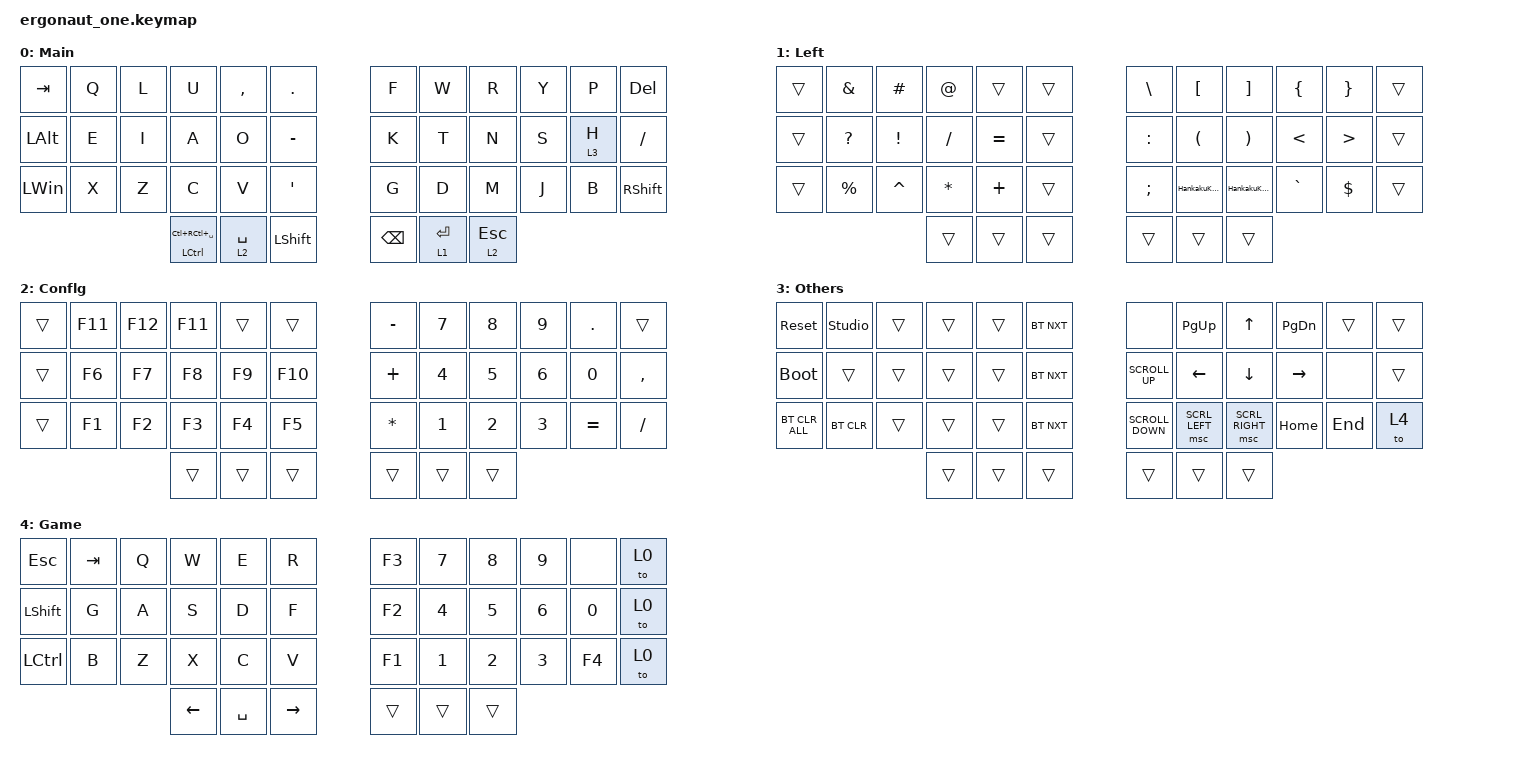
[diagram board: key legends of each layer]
#include <behaviors.dtsi>
#include <dt-bindings/zmk/bt.h>
#include <dt-bindings/zmk/keys.h>
#include <dt-bindings/zmk/pointing.h>

#define DEF 0
#define LWR 1
#define RSE 2
#define ADJ 3

&lt { quick-tap-ms = <200>; };

&mt { quick-tap-ms = <200>; };

/ {
    conditional_layers {
        compatible = "zmk,conditional-layers";

        tri-layer {
            if-layers = <4 4>;
            then-layer = <4>;
        };
    };

    combos { compatible = "zmk,combos"; };

    macros {
        HankakuKakkoHidiri: HankakuKakko {
            compatible = "zmk,behavior-macro";
            #binding-cells = <0>;
            bindings = <&kp LC(SPACE) &kp LEFT_PARENTHESIS &kp LC(SPACE)>;
            label = "HANKAKUKAKKO";
        };

        HankakuKakkoMigi: HankakuKakkoHidiari {
            compatible = "zmk,behavior-macro";
            #binding-cells = <0>;
            bindings = <&kp LC(SPACE) &kp RIGHT_PARENTHESIS &kp LC(SPACE)>;
            label = "HANKAKUKAKKOHIDIARI";
        };

        f13lay6: f13lay6 {
            compatible = "zmk,behavior-macro";
            #binding-cells = <0>;
            bindings = <&mo 0 &kp F13>;
            label = "F13LAY6";
        };
    };

    behaviors {
        ef13laym: ef13laym {
            compatible = "zmk,behavior-hold-tap";
            label = "EF13LAYM";
            bindings = <&f13lay6>, <&kp>;

            #binding-cells = <2>;
            tapping-term-ms = <150>;
        };
    };

    keymap {
        compatible = "zmk,keymap";

        Main {
            display-name = "Main";
            bindings = <
&kp TAB       &kp Q  &kp L  &kp U                    &kp COMMA    &kp PERIOD      &kp F          &kp W        &kp R         &kp Y  &kp P    &kp DEL
&kp LEFT_ALT  &kp E  &kp I  &kp A                    &kp O        &kp MINUS       &kp K          &kp T        &kp N         &kp S  &lt 3 H  &kp SLASH
&kp LEFT_WIN  &kp X  &kp Z  &kp C                    &kp V        &kp SQT         &kp G          &kp D        &kp M         &kp J  &kp B    &kp RIGHT_SHIFT
                            &mt LCTRL LC(RC(SPACE))  &lt 2 SPACE  &kp LEFT_SHIFT  &kp BACKSPACE  &lt 1 ENTER  &lt 2 ESCAPE
            >;
        };

        symbol {
            display-name = "Left";
            bindings = <
&trans  &kp AMPERSAND  &kp HASH         &kp AT_SIGN   &trans     &trans  &kp BACKSLASH  &kp LEFT_BRACKET      &kp RIGHT_BRACKET      &kp LEFT_BRACE  &kp RIGHT_BRACE   &trans
&trans  &kp QUESTION   &kp EXCLAMATION  &kp SLASH     &kp EQUAL  &trans  &kp COLON      &kp LEFT_PARENTHESIS  &kp RIGHT_PARENTHESIS  &kp LESS_THAN   &kp GREATER_THAN  &trans
&trans  &kp PERCENT    &kp CARET        &kp ASTERISK  &kp PLUS   &trans  &kp SEMICOLON  &HankakuKakkoHidiri   &HankakuKakkoMigi      &kp GRAVE       &kp DOLLAR        &trans
                                        &trans        &trans     &trans  &trans         &trans                &trans
            >;
        };

        Number {
            display-name = "Conflg";
            bindings = <
&trans  &kp F11  &kp F12  &kp F11  &trans  &trans   &kp MINUS     &kp N7        &kp N8        &kp N9        &kp PERIOD  &trans
&trans  &kp F6   &kp F7   &kp F8   &kp F9  &kp F10  &kp PLUS      &kp NUMBER_4  &kp N5        &kp NUMBER_6  &kp N0      &kp COMMA
&trans  &kp F1   &kp F2   &kp F3   &kp F4  &kp F5   &kp ASTERISK  &kp NUMBER_1  &kp NUMBER_2  &kp NUMBER_3  &kp EQUAL   &kp SLASH
                          &trans   &trans  &trans   &trans        &trans        &trans
            >;
        };

        Others {
            bindings = <
&sys_reset      &studio_unlock  &trans  &trans  &trans  &bt BT_NXT  &none              &kp PAGE_UP     &kp UP_ARROW     &kp PAGE_DOWN  &trans   &trans
&bootloader     &trans          &trans  &trans  &trans  &bt BT_NXT  &kp K_SCROLL_UP    &kp LEFT_ARROW  &kp DOWN         &kp RIGHT      &none    &trans
&bt BT_CLR_ALL  &bt BT_CLR      &trans  &trans  &trans  &bt BT_NXT  &kp K_SCROLL_DOWN  &msc SCRL_LEFT  &msc SCRL_RIGHT  &kp HOME       &kp END  &to 4
                                        &trans  &trans  &trans      &trans             &trans          &trans
            >;
        };

        Game {
            bindings = <
&kp ESCAPE      &kp TAB  &kp Q  &kp W     &kp E      &kp R      &kp F3  &kp N7        &kp N8        &kp N9        &none   &to 0
&kp LEFT_SHIFT  &kp G    &kp A  &kp S     &kp D      &kp F      &kp F2  &kp NUMBER_4  &kp N5        &kp NUMBER_6  &kp N0  &to 0
&kp LCTRL       &kp B    &kp Z  &kp X     &kp C      &kp V      &kp F1  &kp NUMBER_1  &kp NUMBER_2  &kp NUMBER_3  &kp F4  &to 0
                                &kp LEFT  &kp SPACE  &kp RIGHT  &trans  &trans        &trans
            >;
        };
    };
};
